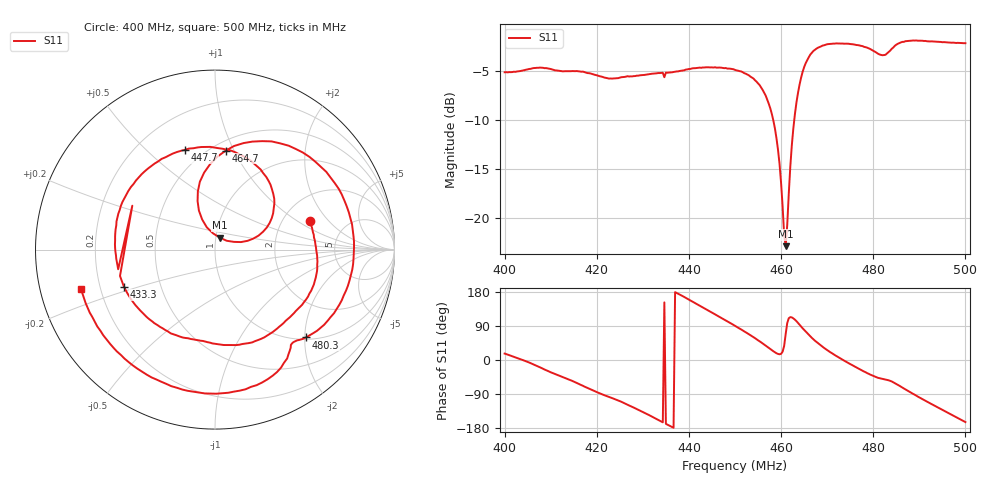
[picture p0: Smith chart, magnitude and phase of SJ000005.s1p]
!File created by NanoVNA-F V2
# Hz S RI R 50
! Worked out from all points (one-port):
!   301 points, 400 MHz to 500 MHz, reference 50 ohm
!   lowest |S11| = -22.9 dB at 461 MHz (marker M1), VSWR 1.15, Z = 52.2 + j7.01 ohm
!   |S11| at or under -10 dB: 458.3 MHz to 462.9 MHz (4.575 MHz wide, 0.993 % of centre)
!   S11 on the Smith chart (normalised r, x): 400 MHz: 2.80, +1.30; 433.3 MHz: 0.30, -0.18; 447.7 MHz: 0.40, +0.67; 464.7 MHz: 0.58, +0.93; 480.3 MHz: 1.04, -2.03; 500 MHz: 0.13, -0.14
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4e8  0.5289 0.1612
4.063333e8  0.5683 -0.1209
4.126667e8  0.3939 -0.3965
4.183333e8  0.1357 -0.5299
4.25e8  -0.1653 -0.4923
4.333333e8  -0.5074 -0.207
4.343333e8  -0.5293 -0.147
4.346666e8  -0.4607 0.2445
4.35e8  -0.5394 -0.1096
4.376666e8  -0.5565 0.0498
4.42e8  -0.4829 0.3267
4.476666e8  -0.1658 0.5559
4.5e8  -0.00339 0.5686
4.546666e8  0.2854 0.4052
4.576666e8  0.3161 0.1751
4.593333e8  0.2137 0.0614
4.609999e8  0.0262 0.0668
4.626666e8  -0.097 0.27
4.646666e8  0.0596 0.5515
4.666666e8  0.3623 0.5921
4.696666e8  0.6678 0.3698
4.719999e8  0.7634 0.1413
4.749999e8  0.7569 -0.1435
4.803333e8  0.507 -0.4892
4.846666e8  0.3678 -0.6579
4.876666e8  0.1044 -0.7916
4.929999e8  -0.3797 -0.6971
4.999999e8  -0.7472 -0.2168
